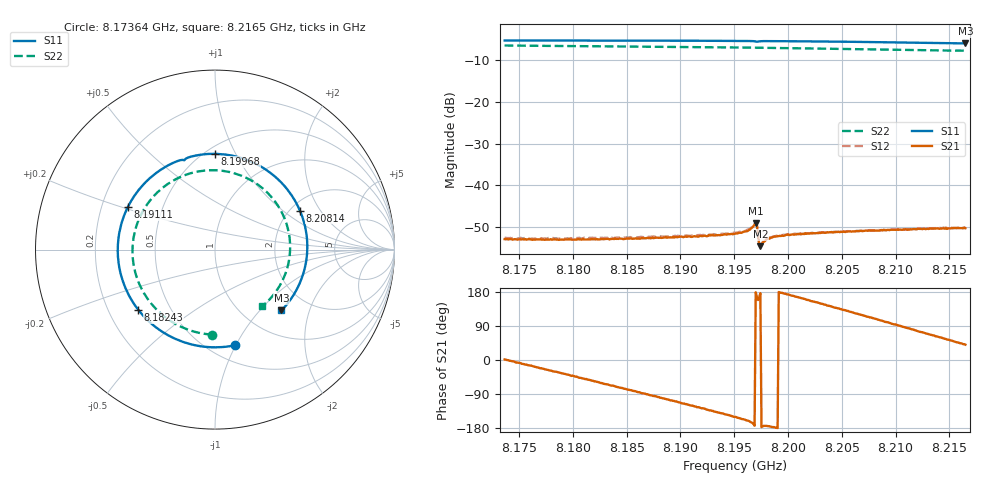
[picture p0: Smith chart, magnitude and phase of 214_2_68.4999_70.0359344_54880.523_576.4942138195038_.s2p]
#  HZ  S  RI  R  50.00
! Rohde & Schwarz Vector Network Analyzer
! Rohde-Schwarz,ZNB20-2Port,1311601062101988,3.16
! Created: UTC 3/20/2024, 4:58:09 PM
! freq[Hz]  re:S11  im:S11  re:S21  im:S21  re:S12  im:S12  re:S22  im:S22
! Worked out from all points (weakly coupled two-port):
!   401 points, 8.17364 GHz to 8.2165 GHz, reference 50 ohm
!   highest |S21| = -49.05 dB at 8.197 GHz (marker M1); lowest = -54.6 dB at 8.19743 GHz (marker M2)
!   lowest |S11| = -6.0 dB at 8.2165 GHz (marker M3), VSWR 3.02, Z = 73.1 - j66.3 ohm
!   |S11| at or under -10 dB: nowhere
!   |S22| runs from -7.7 to -6.5 dB; largest |S21 - S12| = 0.00017
!   S11 on the Smith chart (normalised r, x): 8.17364 GHz: 0.66, -0.99; 8.18243 GHz: 0.33, -0.31; 8.19111 GHz: 0.31, +0.21; 8.19968 GHz: 0.56, +0.83; 8.20814 GHz: 2.24, +1.34; 8.2165 GHz: 1.46, -1.33
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8.173638e9  0.1114 -0.533  0.00227 5.55e-05  0.00235 8.46e-05  -0.0148 -0.4736
8.177175e9  -0.129 -0.5289  0.00207 -0.000872  0.00212 -0.000932  -0.2073 -0.4211
8.180818e9  -0.3509 -0.4154  0.0015 -0.00167  0.00154 -0.00174  -0.3634 -0.2909
8.182425e9  -0.4277 -0.335  0.00116 -0.00193  0.00115 -0.00201  -0.4108 -0.2149
8.185319e9  -0.5193 -0.1574  0.000421 -0.00228  0.000409 -0.00237  -0.4566 -0.0614
8.187997e9  -0.5411 0.0277  -0.000323 -0.00233  -0.00042 -0.00241  -0.4498 0.0866
8.191105e9  -0.4859 0.2367  -0.00122 -0.0021  -0.00137 -0.00212  -0.383 0.2446
8.19507e9  -0.3037 0.4438  -0.00229 -0.00131  -0.0024 -0.00126  -0.2205 0.3914
8.196249e9  -0.2304 0.4845  -0.00267 -0.000976  -0.00281 -0.000887  -0.1596 0.4178
8.196892e9  -0.1847 0.4996  -0.00339 -0.000381  -0.00346 -0.00025  -0.1251 0.4283
8.196999e9  -0.1767 0.4995  -0.00353 7.61e-05  -0.00362 0.000201  -0.1192 0.4297
8.197427e9  -0.1585 0.5089  -0.00187 0.000115  -0.00195 0.000189  -0.096 0.4349
8.197535e9  -0.1508 0.5124  -0.00193 -0.0001  -0.002 -2.39e-05  -0.0899 0.4358
8.197963e9  -0.1202 0.5213  -0.00224 -0.000245  -0.00224 -0.00014  -0.066 0.4395
8.198606e9  -0.0746 0.5294  -0.00241 -0.000131  -0.00245 -1.86e-05  -0.0297 0.4423
8.199678e9  0.00142 0.5335  -0.00249 0.00022  -0.00254 0.000341  0.0311 0.4401
8.202249e9  0.179 0.4992  -0.00241 0.00112  -0.00242 0.00121  0.1719 0.401
8.205036e9  0.3462 0.3963  -0.00189 0.00202  -0.00184 0.00211  0.3019 0.3069
8.208143e9  0.473 0.2173  -0.000913 0.00272  -0.000834 0.00275  0.3958 0.1511
8.209429e9  0.5015 0.1301  -0.000399 0.00288  -0.000354 0.00292  0.4141 0.0762
8.212858e9  0.4977 -0.1132  0.00103 0.00282  0.00111 0.00283  0.3938 -0.1305
8.216501e9  0.37 -0.3391  0.00234 0.00199  0.00243 0.00198  0.2629 -0.316
